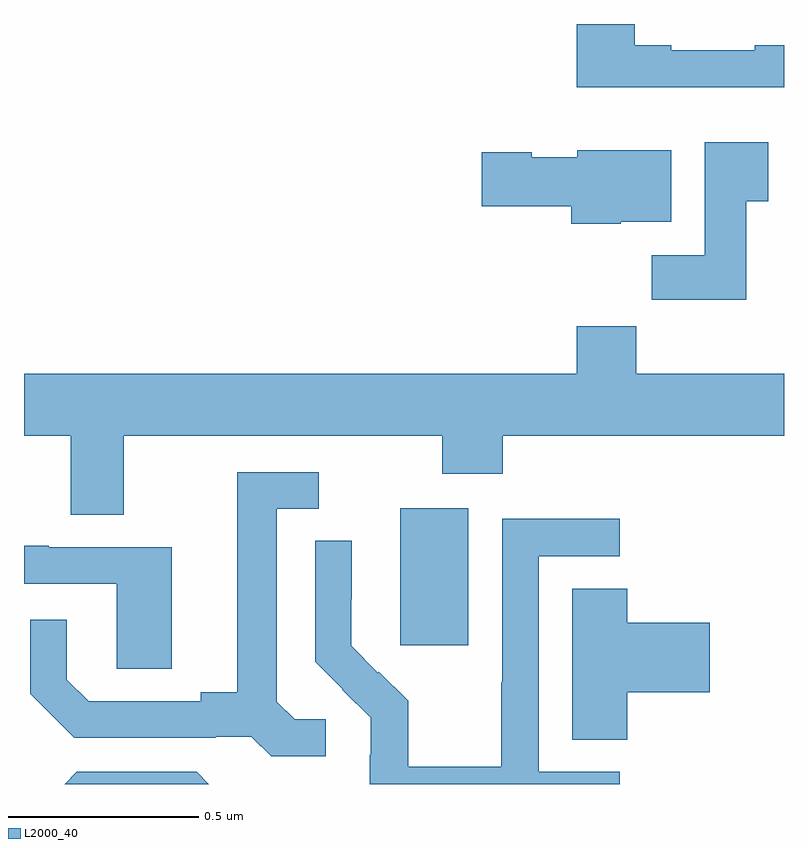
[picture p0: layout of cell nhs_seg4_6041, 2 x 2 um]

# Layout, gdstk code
import gdstk
lib = gdstk.Library(unit=1e-6, precision=1e-09)
def R(c, l, rs):  # rectangles x0, y0, x1, y1
    for r in rs: c.add(gdstk.rectangle(r[:2], r[2:], *l))
def P(c, l, *ps):  # polygons
    for p in ps: c.add(gdstk.Polygon(p, *l))
L2000_40 = (2000, 40)

nhs_seg4_6041 = lib.new_cell('nhs_seg4_6041')
R(nhs_seg4_6041, L2000_40, [(185.99,800.265,186.169,800.626)])
P(nhs_seg4_6041, L2000_40, [(187,801.844),(186.923,801.844),(186.923,801.831),(186.703,801.831),(186.703,801.844),(186.607,801.844),(186.607,801.9),(186.455,801.9),(186.455,801.734),(187,801.734)],
  [(186.901,801.433),(186.958,801.433),(186.958,801.589),(186.791,801.589),(186.791,801.292),(186.652,801.292),(186.652,801.174),(186.901,801.174)],
  [(186.57,801.38),(186.703,801.38),(186.703,801.568),(186.456,801.568),(186.456,801.55),(186.336,801.55),(186.336,801.563),(186.204,801.563),(186.204,801.421),(186.44,801.421),(186.44,801.374),(186.57,801.374)],
  [(185.263,800.816),(186.1,800.816),(186.1,800.717),(186.26,800.717),(186.26,800.816),(187,800.816),(187,800.98),(186.611,800.98),(186.611,801.104),(186.455,801.104),(186.455,800.98),(185,800.98),(185,800.816),(185.123,800.816),(185.123,800.608),(185.263,800.608)],
  [(185.794,800.07),(185.712,800.07),(185.665,800.117),(185.665,800.625),(185.776,800.625),(185.776,800.721),(185.561,800.721),(185.561,800.141),(185.465,800.141),(185.465,800.118),(185.17,800.118),(185.113,800.175),(185.113,800.332),(185.016,800.332),(185.016,800.138),(185.132,800.022),(185.504,800.022),(185.504,800.025),(185.598,800.025),(185.65,799.973),(185.794,799.973)],
  [(186.568,799.932),(186.354,799.932),(186.354,800.499),(186.568,800.499),(186.568,800.598),(186.258,800.598),(186.258,800.168),(186.256,800.168),(186.256,799.945),(186.011,799.945),(186.011,800.119),(185.934,800.196),(185.931,800.193),(185.861,800.264),(185.861,800.386),(185.862,800.386),(185.862,800.54),(185.766,800.54),(185.766,800.222),(185.839,800.149),(185.838,800.148),(185.912,800.074),(185.912,799.977),(185.91,799.977),(185.91,799.9),(186.568,799.9)],
  [(185.389,800.523),(185.065,800.523),(185.065,800.527),(185,800.527),(185,800.427),(185.244,800.427),(185.244,800.203),(185.389,800.203)],
  [(186.587,800.141),(186.805,800.141),(186.805,800.324),(186.587,800.324),(186.587,800.414),(186.443,800.414),(186.443,800.017),(186.587,800.017)],
  [(185.454,799.932),(185.139,799.932),(185.107,799.9),(185.486,799.9)])

lib.write_gds('nhs_seg4_6041.gds')
